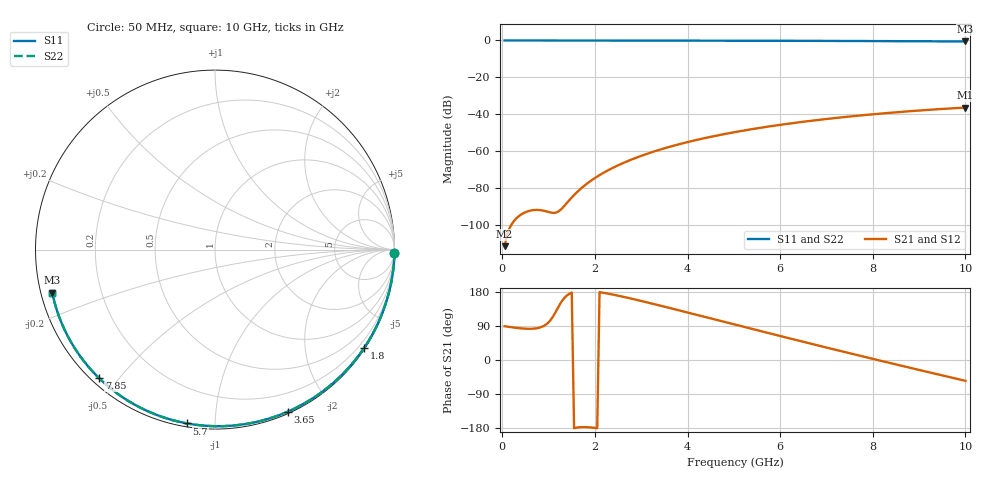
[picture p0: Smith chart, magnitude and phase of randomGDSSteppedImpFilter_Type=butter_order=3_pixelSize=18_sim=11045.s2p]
! freq	dB(S11)	phase(S11)	dB(S12)	phase(S12)
!  dB(S21)	phase(S21)	dB(S22)	phase(S22)
!S-par simulation data
#  GHz  S  DB  R 50
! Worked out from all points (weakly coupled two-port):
!   200 points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, 50 MHz to 10 GHz, reference 50 ohm
!   highest |S21| = -36.45 dB at 10 GHz (marker M1); lowest = -111.7 dB at 50 MHz (marker M2)
!   lowest |S11| = -0.6 dB at 10 GHz (marker M3), VSWR 31.29, Z = 1.62 - j6.48 ohm
!   |S11| at or under -10 dB: nowhere
!   |S22| runs from -0.6 to 0.0 dB; largest |S21 - S12| = 0
!   S11 on the Smith chart (normalised r, x): 50 MHz: open; 1.8 GHz: 0.03, -3.34; 3.65 GHz: 0.02, -1.55; 5.7 GHz: 0.02, -0.85; 7.85 GHz: 0.02, -0.45; 10 GHz: 0.03, -0.13
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0.05  -0.00 -0.9  -111.75 89.1  -111.75 89.1  -0.00 -0.9
0.45  -0.01 -8.5  -93.91 83.0  -93.91 83.0  -0.01 -8.5
0.85  -0.02 -15.9  -92.27 87.3  -92.27 87.3  -0.02 -15.9
1.7  -0.04 -31.5  -80.41 -177.1  -80.41 -177.1  -0.04 -31.5
1.75  -0.04 -32.4  -79.35 -177.0  -79.35 -177.0  -0.04 -32.4
1.8  -0.04 -33.4  -78.34 -177.0  -78.34 -177.0  -0.04 -33.4
1.95  -0.05 -36.1  -75.57 -178.4  -75.57 -178.4  -0.05 -36.1
2.1  -0.05 -38.8  -73.15 179.1  -73.15 179.1  -0.05 -38.8
2.3  -0.05 -42.3  -70.31 174.8  -70.31 174.8  -0.05 -42.3
2.5  -0.06 -45.9  -67.83 169.8  -67.83 169.8  -0.06 -45.9
2.9  -0.07 -52.9  -63.61 158.7  -63.61 158.7  -0.07 -52.9
3.4  -0.08 -61.6  -59.35 143.8  -59.35 143.8  -0.08 -61.6
3.65  -0.09 -65.8  -57.52 136.2  -57.52 136.2  -0.09 -65.8
4.3  -0.11 -76.7  -53.44 116.0  -53.44 116.0  -0.11 -76.7
5.05  -0.14 -88.8  -49.66 92.7  -49.66 92.7  -0.14 -88.8
5.7  -0.17 -99.1  -46.95 72.5  -46.95 72.5  -0.17 -99.1
6.7  -0.23 -114.6  -43.54 41.9  -43.54 41.9  -0.23 -114.6
7.25  -0.26 -122.9  -41.97 25.3  -41.97 25.3  -0.26 -122.9
7.85  -0.31 -132.0  -40.46 7.5  -40.46 7.5  -0.31 -132.0
8.35  -0.36 -139.5  -39.34 -7.3  -39.34 -7.3  -0.36 -139.5
9.2  -0.45 -152.6  -37.70 -32.0  -37.70 -32.0  -0.45 -152.6
10  -0.56 -165.2  -36.45 -55.0  -36.45 -55.0  -0.56 -165.2
